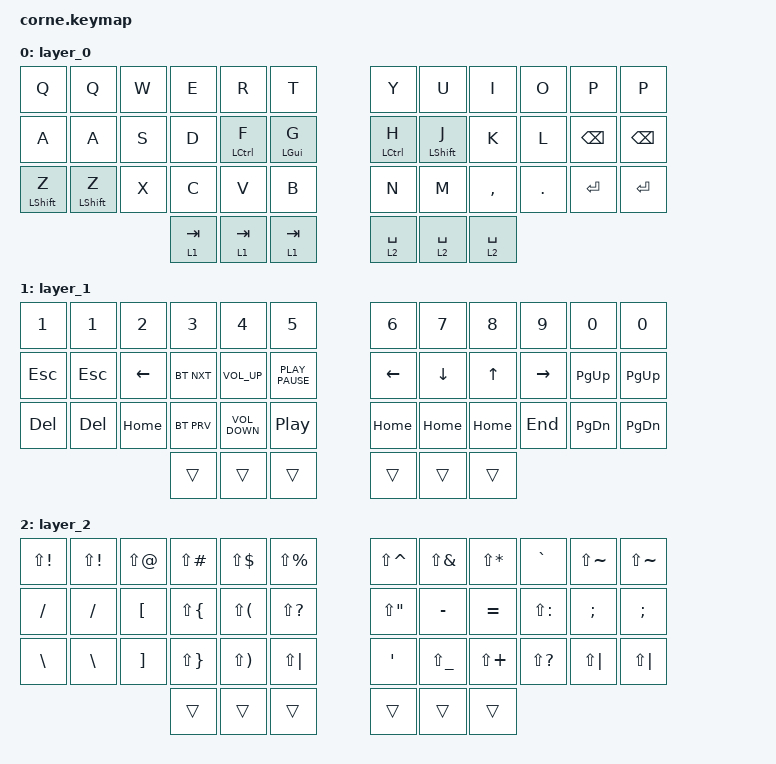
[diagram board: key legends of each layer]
/*
 * Copyright (c) 2020 The ZMK Contributors
 *
 * SPDX-License-Identifier: MIT
 */

#include <behaviors.dtsi>
#include <dt-bindings/zmk/keys.h>
#include <dt-bindings/zmk/bt.h>

/ {
    keymap {
        compatible = "zmk,keymap";

        layer_0 {
            bindings = <
 &kp Q            &kp Q             &kp W  &kp E  &kp R        &kp T             &kp Y        &kp U             &kp I      &kp O    &kp P    &kp P   
 &kp A            &kp A             &kp S  &kp D  &mt LCTRL F  &mt LEFT_GUI G    &mt LCTRL H  &mt LEFT_SHIFT J  &kp K      &kp L    &kp BSPC &kp BSPC
 &mt LEFT_SHIFT Z &mt LEFT_SHIFT Z  &kp X  &kp C  &kp V        &kp B             &kp N        &kp M             &kp COMMA  &kp DOT  &kp RET  &kp RET 
                                &lt 1 TAB &lt 1 TAB  &lt 1 TAB       &lt 2 SPACE  &lt 2 SPACE  &lt 2 SPACE
            >;
        };

        layer_1 {
            bindings = <
 &kp N1   &kp N1   &kp N2    &kp N3      &kp N4             &kp N5              &kp N6    &kp N7    &kp N8    &kp N9     &kp N0    &kp N0    
 &kp ESC  &kp ESC  &kp LEFT  &bt BT_NXT  &kp C_VOLUME_UP    &kp K_PLAY_PAUSE    &kp LEFT  &kp DOWN  &kp UP    &kp RIGHT  &kp PG_UP &kp PG_UP 
 &kp DEL  &kp DEL  &kp HOME  &bt BT_PRV  &kp C_VOLUME_DOWN  &kp C_PLAY_PAUSE    &kp HOME  &kp HOME  &kp HOME  &kp END    &kp PG_DN &kp PG_DN 
                               &trans &trans             &trans              &trans    &trans &trans
            >;
        };

        layer_2 {
            bindings = <
 &kp LS(EXCL) &kp LS(EXCL)  &kp LS(AT)  &kp LS(POUND)  &kp LS(DLLR)  &kp LS(PRCNT)    &kp LS(CARET)  &kp LS(AMPS)   &kp LS(STAR)  &kp GRAVE      &kp LS(TILDE)  &kp LS(TILDE) 
 &kp FSLH     &kp FSLH      &kp LBKT    &kp LS(LBRC)   &kp LS(LPAR)  &kp LS(QMARK)    &kp LS(DQT)    &kp MINUS      &kp EQUAL     &kp LS(COLON)  &kp SEMI       &kp SEMI      
 &kp BSLH     &kp BSLH      &kp RBKT    &kp LS(RBRC)   &kp LS(RPAR)  &kp LS(PIPE)     &kp SQT        &kp LS(UNDER)  &kp LS(PLUS)  &kp LS(QMARK)  &kp LS(PIPE)   &kp LS(PIPE)  
                               &trans &trans             &trans              &trans    &trans &trans
            >;
        };
    };
};
